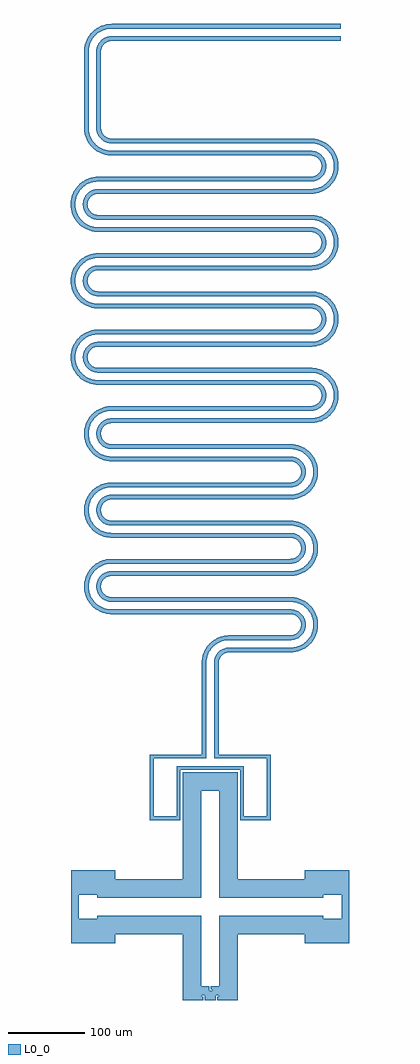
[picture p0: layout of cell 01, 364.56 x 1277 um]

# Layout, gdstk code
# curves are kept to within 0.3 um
import gdstk
lib = gdstk.Library(unit=1e-6, precision=1e-09)
def R(c, l, rs):  # rectangles x0, y0, x1, y1
    for r in rs: c.add(gdstk.rectangle(r[:2], r[2:], *l))
def P(c, l, *ps):  # polygons
    for p in ps: c.add(gdstk.Polygon(p, *l))
L0_0 = (0, 0)

c_01 = lib.new_cell('01')
R(c_01, L0_0, [(-11,2.5,-5,122.5), (-11,2.5,-5,122.5), (5,2.5,11,122.5), (5,2.5,11,122.5), (25,136.5,105,142.5), (25,136.5,105,142.5), (25,152.5,105,158.5), (25,152.5,105,158.5), (-129,186.5,105,192.5), (-129,186.5,105,192.5), (-129,202.5,105,208.5), (-129,202.5,105,208.5), (-129,236.5,105,242.5), (-129,236.5,105,242.5), (-129,252.5,105,258.5), (-129,252.5,105,258.5), (-129,286.5,105,292.5), (-129,286.5,105,292.5), (-129,302.5,105,308.5), (-129,302.5,105,308.5), (-129,336.5,105,342.5), (-129,336.5,105,342.5), (-129,352.5,105,358.5), (-129,352.5,105,358.5), (-129,386.5,105,392.5), (-129,386.5,105,392.5), (-129,402.5,105,408.5), (-129,402.5,105,408.5), (-129,436.5,131.771,442.5), (-129,436.5,131.771,442.5), (-129,452.5,131.771,458.5), (-129,452.5,131.771,458.5), (-146.571,486.5,131.771,492.5), (-146.571,486.5,131.771,492.5), (-146.571,502.5,131.771,508.5), (-146.571,502.5,131.771,508.5), (-146.571,536.5,131.771,542.5), (-146.571,536.5,131.771,542.5), (-146.571,552.5,131.771,558.5), (-146.571,552.5,131.771,558.5), (-146.571,586.5,131.771,592.5), (-146.571,586.5,131.771,592.5), (-146.571,602.5,131.771,608.5), (-146.571,602.5,131.771,608.5), (-146.571,636.5,131.771,642.5), (-146.571,636.5,131.771,642.5), (-146.571,652.5,131.771,658.5), (-146.571,652.5,131.771,658.5), (-146.571,686.5,131.771,692.5), (-146.571,686.5,131.771,692.5), (-146.571,702.5,131.771,708.5), (-146.571,702.5,131.771,708.5), (-146.571,736.5,131.771,742.5), (-146.571,736.5,131.771,742.5), (-146.571,752.5,131.771,758.5), (-146.571,752.5,131.771,758.5), (-129,786.5,131.771,792.5), (-129,786.5,131.771,792.5), (-129,802.5,131.771,808.5), (-129,802.5,131.771,808.5), (-165,822.5,-159,922.5), (-165,822.5,-159,922.5), (-149,822.5,-143,922.5), (-149,822.5,-143,922.5), (-129,936.5,171,942.5), (-129,936.5,171,942.5), (-129,952.5,171,958.5), (-129,952.5,171,958.5)])
P(c_01, L0_0, [(5,122.5),(5.361,126.285),(6.433,129.933),(8.175,133.313),(10.525,136.302),(13.399,138.792),(16.692,140.693),(21.215,142.139),(25,142.5),(25,136.5),(19.797,135.497),(15.339,132.632),(12.265,128.316),(11.253,125.15),(11,122.5)],
  [(-11,122.5),(-10.349,129.313),(-8.421,135.88),(-5.285,141.963),(-1.054,147.343),(4.118,151.825),(10.045,155.247),(16.513,157.485),(25,158.5),(25,152.5),(19.322,151.958),(13.85,150.351),(8.781,147.738),(4.298,144.212),(-0.238,138.719),(-2.851,133.65),(-4.458,128.178),(-5,122.5)],
  [(105,152.5),(108.729,152.851),(112.328,153.891),(115.669,155.583),(118.636,157.869),(121.662,161.437),(123.432,164.738),(124.556,168.311),(124.995,172.031),(124.731,175.768),(123.776,179.389),(121.662,183.563),(119.307,186.475),(115.669,189.417),(112.328,191.109),(108.729,192.149),(105,192.5),(105,186.5),(110.129,185.527),(113.015,183.979),(115.015,182.283),(117.903,177.933),(118.996,172.828),(118.69,169.568),(117.903,167.067),(115.015,162.717),(113.015,161.021),(110.129,159.473),(105,158.5)],
  [(105,136.5),(111.713,137.131),(118.19,139.003),(124.204,142.05),(130.752,147.344),(134.991,152.587),(138.178,158.529),(140.202,164.96),(140.99,171.656),(140.516,178.382),(138.797,184.901),(135.892,190.985),(130.752,197.656),(124.204,202.95),(118.19,205.997),(111.713,207.869),(105,208.5),(105,202.5),(110.594,201.974),(117.288,199.868),(123.309,196.265),(127.419,192.434),(129.993,189.094),(132.649,184.143),(134.335,178.783),(134.992,173.203),(134.597,167.599),(133.164,162.166),(131.437,158.319),(128.329,153.639),(123.309,148.735),(117.288,145.132),(110.594,143.026),(105,142.5)],
  [(-129,202.5),(-132.729,202.851),(-136.328,203.891),(-139.669,205.583),(-142.636,207.869),(-145.662,211.437),(-147.432,214.738),(-148.556,218.311),(-148.995,222.031),(-148.731,225.768),(-147.776,229.389),(-145.662,233.563),(-143.307,236.475),(-139.669,239.417),(-136.328,241.109),(-132.729,242.149),(-129,242.5),(-129,236.5),(-134.129,235.527),(-137.015,233.979),(-139.015,232.283),(-141.903,227.933),(-142.996,222.828),(-142.69,219.568),(-141.903,217.067),(-139.015,212.717),(-137.015,211.021),(-134.129,209.473),(-129,208.5)],
  [(-129,186.5),(-135.713,187.131),(-142.19,189.003),(-148.204,192.05),(-154.752,197.344),(-158.991,202.587),(-162.178,208.529),(-164.202,214.96),(-164.99,221.656),(-164.516,228.382),(-162.797,234.901),(-159.892,240.985),(-154.752,247.656),(-148.204,252.95),(-142.19,255.997),(-135.713,257.869),(-129,258.5),(-129,252.5),(-134.594,251.974),(-141.288,249.868),(-147.309,246.265),(-151.419,242.434),(-153.993,239.094),(-156.649,234.143),(-158.335,228.783),(-158.992,223.203),(-158.597,217.599),(-157.164,212.166),(-155.437,208.319),(-152.329,203.639),(-147.309,198.735),(-141.288,195.132),(-134.594,193.026),(-129,192.5)],
  [(105,252.5),(108.729,252.851),(112.328,253.891),(115.669,255.583),(118.636,257.869),(121.662,261.437),(123.432,264.738),(124.556,268.311),(124.995,272.031),(124.731,275.768),(123.776,279.389),(121.662,283.563),(119.307,286.475),(115.669,289.417),(112.328,291.109),(108.729,292.149),(105,292.5),(105,286.5),(110.129,285.527),(113.015,283.979),(115.015,282.283),(117.903,277.933),(118.996,272.828),(118.69,269.568),(117.903,267.067),(115.015,262.717),(113.015,261.021),(110.129,259.473),(105,258.5)],
  [(105,236.5),(111.713,237.131),(118.19,239.003),(124.204,242.05),(130.752,247.344),(134.991,252.587),(138.178,258.529),(140.202,264.96),(140.99,271.656),(140.516,278.382),(138.797,284.901),(135.892,290.985),(130.752,297.656),(124.204,302.95),(118.19,305.997),(111.713,307.869),(105,308.5),(105,302.5),(110.594,301.974),(117.288,299.868),(123.309,296.265),(127.419,292.434),(129.993,289.094),(132.649,284.143),(134.335,278.783),(134.992,273.203),(134.597,267.599),(133.164,262.166),(131.437,258.319),(128.329,253.639),(123.309,248.735),(117.288,245.132),(110.594,243.026),(105,242.5)],
  [(-129,302.5),(-132.729,302.851),(-136.328,303.891),(-139.669,305.583),(-142.636,307.869),(-145.662,311.437),(-147.432,314.738),(-148.556,318.311),(-148.995,322.031),(-148.731,325.768),(-147.776,329.389),(-145.662,333.563),(-143.307,336.475),(-139.669,339.417),(-136.328,341.109),(-132.729,342.149),(-129,342.5),(-129,336.5),(-134.129,335.527),(-137.015,333.979),(-139.015,332.283),(-141.903,327.933),(-142.996,322.828),(-142.69,319.568),(-141.903,317.067),(-139.015,312.717),(-137.015,311.021),(-134.129,309.473),(-129,308.5)],
  [(-129,286.5),(-135.713,287.131),(-142.19,289.003),(-148.204,292.05),(-154.752,297.344),(-158.991,302.587),(-162.178,308.529),(-164.202,314.96),(-164.99,321.656),(-164.516,328.382),(-162.797,334.901),(-159.892,340.985),(-154.752,347.656),(-148.204,352.95),(-142.19,355.997),(-135.713,357.869),(-129,358.5),(-129,352.5),(-134.594,351.974),(-141.288,349.868),(-147.309,346.265),(-151.419,342.434),(-153.993,339.094),(-156.649,334.143),(-158.335,328.783),(-158.992,323.203),(-158.597,317.599),(-157.164,312.166),(-155.437,308.319),(-152.329,303.639),(-147.309,298.735),(-141.288,295.132),(-134.594,293.026),(-129,292.5)],
  [(105,352.5),(108.729,352.851),(112.328,353.891),(115.669,355.583),(118.636,357.869),(121.662,361.437),(123.432,364.738),(124.556,368.311),(124.995,372.031),(124.731,375.768),(123.776,379.389),(121.662,383.563),(119.307,386.475),(115.669,389.417),(112.328,391.109),(108.729,392.149),(105,392.5),(105,386.5),(110.129,385.527),(113.015,383.979),(115.015,382.283),(117.903,377.933),(118.996,372.828),(118.69,369.568),(117.903,367.067),(115.015,362.717),(113.015,361.021),(110.129,359.473),(105,358.5)],
  [(105,336.5),(111.713,337.131),(118.19,339.003),(124.204,342.05),(130.752,347.344),(134.991,352.587),(138.178,358.529),(140.202,364.96),(140.99,371.656),(140.516,378.382),(138.797,384.901),(135.892,390.985),(130.752,397.656),(124.204,402.95),(118.19,405.997),(111.713,407.869),(105,408.5),(105,402.5),(110.594,401.974),(117.288,399.868),(123.309,396.265),(127.419,392.434),(129.993,389.094),(132.649,384.143),(134.335,378.783),(134.992,373.203),(134.597,367.599),(133.164,362.166),(131.437,358.319),(128.329,353.639),(123.309,348.735),(117.288,345.132),(110.594,343.026),(105,342.5)],
  [(-129,402.5),(-132.729,402.851),(-136.328,403.891),(-139.669,405.583),(-142.636,407.869),(-145.662,411.437),(-147.432,414.738),(-148.556,418.311),(-148.995,422.031),(-148.731,425.768),(-147.776,429.389),(-145.662,433.563),(-143.307,436.475),(-139.669,439.417),(-136.328,441.109),(-132.729,442.149),(-129,442.5),(-129,436.5),(-134.129,435.527),(-137.015,433.979),(-139.015,432.283),(-141.903,427.933),(-142.996,422.828),(-142.69,419.568),(-141.903,417.067),(-139.015,412.717),(-137.015,411.021),(-134.129,409.473),(-129,408.5)],
  [(-129,386.5),(-135.713,387.131),(-142.19,389.003),(-148.204,392.05),(-154.752,397.344),(-158.991,402.587),(-162.178,408.529),(-164.202,414.96),(-164.99,421.656),(-164.516,428.382),(-162.797,434.901),(-159.892,440.985),(-154.752,447.656),(-148.204,452.95),(-142.19,455.997),(-135.713,457.869),(-129,458.5),(-129,452.5),(-134.594,451.974),(-141.288,449.868),(-147.309,446.265),(-151.419,442.434),(-153.993,439.094),(-156.649,434.143),(-158.335,428.783),(-158.992,423.203),(-158.597,417.599),(-157.164,412.166),(-155.437,408.319),(-152.329,403.639),(-147.309,398.735),(-141.288,395.132),(-134.594,393.026),(-129,392.5)],
  [(131.771,452.5),(135.501,452.851),(139.099,453.891),(142.44,455.583),(145.408,457.869),(148.433,461.437),(150.204,464.738),(151.328,468.311),(151.766,472.031),(151.503,475.768),(150.204,480.262),(148.433,483.563),(146.078,486.475),(143.222,488.898),(139.099,491.109),(135.501,492.149),(131.771,492.5),(131.771,486.5),(136.901,485.527),(139.787,483.979),(141.786,482.283),(144.674,477.933),(145.768,472.828),(144.915,467.677),(143.435,464.756),(141.786,462.717),(139.787,461.021),(136.901,459.473),(131.771,458.5)],
  [(131.771,436.5),(138.484,437.131),(144.961,439.003),(150.976,442.05),(156.317,446.165),(160.797,451.203),(164.95,458.529),(166.973,464.96),(167.762,471.656),(167.288,478.382),(164.95,486.471),(161.763,492.413),(157.524,497.656),(152.382,502.016),(146.517,505.342),(138.484,507.869),(131.771,508.5),(131.771,502.5),(137.365,501.974),(144.059,499.868),(150.081,496.265),(154.191,492.434),(157.515,487.904),(159.42,484.143),(161.106,478.783),(161.763,473.203),(161.566,468.991),(160.389,463.497),(158.208,458.319),(155.101,453.639),(150.081,448.735),(144.059,445.132),(137.365,443.026),(131.771,442.5)],
  [(-146.571,502.5),(-150.301,502.851),(-153.899,503.891),(-157.24,505.583),(-160.208,507.869),(-163.233,511.437),(-165.004,514.738),(-166.128,518.311),(-166.566,522.031),(-166.303,525.768),(-165.004,530.262),(-163.233,533.563),(-160.878,536.475),(-158.022,538.898),(-153.899,541.109),(-150.301,542.149),(-146.571,542.5),(-146.571,536.5),(-151.701,535.527),(-154.587,533.979),(-156.586,532.283),(-159.474,527.933),(-160.568,522.828),(-159.715,517.677),(-158.235,514.756),(-156.586,512.717),(-154.587,511.021),(-151.701,509.473),(-146.571,508.5)],
  [(-146.571,486.5),(-153.284,487.131),(-159.761,489.003),(-165.776,492.05),(-171.117,496.165),(-175.597,501.203),(-179.75,508.529),(-181.773,514.96),(-182.562,521.656),(-182.088,528.382),(-179.75,536.471),(-176.563,542.413),(-172.324,547.656),(-167.182,552.016),(-161.317,555.342),(-153.284,557.869),(-146.571,558.5),(-146.571,552.5),(-152.165,551.974),(-158.859,549.868),(-164.881,546.265),(-168.991,542.434),(-172.315,537.904),(-174.22,534.143),(-175.906,528.783),(-176.563,523.203),(-176.366,518.991),(-175.189,513.497),(-173.008,508.319),(-169.901,503.639),(-164.881,498.735),(-158.859,495.132),(-152.165,493.026),(-146.571,492.5)],
  [(131.771,552.5),(135.501,552.851),(139.099,553.891),(142.44,555.583),(145.408,557.869),(148.433,561.437),(150.204,564.738),(151.328,568.311),(151.766,572.031),(151.503,575.768),(150.204,580.262),(148.433,583.563),(146.078,586.475),(143.222,588.898),(139.099,591.109),(135.501,592.149),(131.771,592.5),(131.771,586.5),(136.901,585.527),(139.787,583.979),(141.786,582.283),(144.674,577.933),(145.768,572.828),(144.915,567.677),(143.435,564.756),(141.786,562.717),(139.787,561.021),(136.901,559.473),(131.771,558.5)],
  [(131.771,536.5),(138.484,537.131),(144.961,539.003),(150.976,542.05),(156.317,546.165),(160.797,551.203),(164.95,558.529),(166.973,564.96),(167.762,571.656),(167.288,578.382),(164.95,586.471),(161.763,592.413),(157.524,597.656),(152.382,602.016),(146.517,605.342),(138.484,607.869),(131.771,608.5),(131.771,602.5),(137.365,601.974),(144.059,599.868),(150.081,596.265),(154.191,592.434),(157.515,587.904),(159.42,584.143),(161.106,578.783),(161.763,573.203),(161.566,568.991),(160.389,563.497),(158.208,558.319),(155.101,553.639),(150.081,548.735),(144.059,545.132),(137.365,543.026),(131.771,542.5)],
  [(-146.571,602.5),(-150.301,602.851),(-153.899,603.891),(-157.24,605.583),(-160.208,607.869),(-163.233,611.437),(-165.004,614.738),(-166.128,618.311),(-166.566,622.031),(-166.303,625.768),(-165.004,630.262),(-163.233,633.563),(-160.878,636.475),(-158.022,638.898),(-153.899,641.109),(-150.301,642.149),(-146.571,642.5),(-146.571,636.5),(-151.701,635.527),(-154.587,633.979),(-156.586,632.283),(-159.474,627.933),(-160.568,622.828),(-159.715,617.677),(-158.235,614.756),(-156.586,612.717),(-154.587,611.021),(-151.701,609.473),(-146.571,608.5)],
  [(-146.571,586.5),(-153.284,587.131),(-159.761,589.003),(-165.776,592.05),(-171.117,596.165),(-175.597,601.203),(-179.75,608.529),(-181.773,614.96),(-182.562,621.656),(-182.088,628.382),(-179.75,636.471),(-176.563,642.413),(-172.324,647.656),(-167.182,652.016),(-161.317,655.342),(-153.284,657.869),(-146.571,658.5),(-146.571,652.5),(-152.165,651.974),(-158.859,649.868),(-164.881,646.265),(-168.991,642.434),(-172.315,637.904),(-174.22,634.143),(-175.906,628.783),(-176.563,623.203),(-176.366,618.991),(-175.189,613.497),(-173.008,608.319),(-169.901,603.639),(-164.881,598.735),(-158.859,595.132),(-152.165,593.026),(-146.571,592.5)],
  [(131.771,652.5),(135.501,652.851),(139.099,653.891),(142.44,655.583),(145.408,657.869),(148.433,661.437),(150.204,664.738),(151.328,668.311),(151.766,672.031),(151.503,675.768),(150.204,680.262),(148.433,683.563),(146.078,686.475),(143.222,688.898),(139.099,691.109),(135.501,692.149),(131.771,692.5),(131.771,686.5),(136.901,685.527),(139.787,683.979),(141.786,682.283),(144.674,677.933),(145.768,672.828),(144.915,667.677),(143.435,664.756),(141.786,662.717),(139.787,661.021),(136.901,659.473),(131.771,658.5)],
  [(131.771,636.5),(138.484,637.131),(144.961,639.003),(150.976,642.05),(156.317,646.165),(160.797,651.203),(164.95,658.529),(166.973,664.96),(167.762,671.656),(167.288,678.382),(164.95,686.471),(161.763,692.413),(157.524,697.656),(152.382,702.016),(146.517,705.342),(138.484,707.869),(131.771,708.5),(131.771,702.5),(137.365,701.974),(144.059,699.868),(150.081,696.265),(154.191,692.434),(157.515,687.904),(159.42,684.143),(161.106,678.783),(161.763,673.203),(161.566,668.991),(160.389,663.497),(158.208,658.319),(155.101,653.639),(150.081,648.735),(144.059,645.132),(137.365,643.026),(131.771,642.5)],
  [(-146.571,702.5),(-150.301,702.851),(-153.899,703.891),(-157.24,705.583),(-160.208,707.869),(-163.233,711.437),(-165.004,714.738),(-166.128,718.311),(-166.566,722.031),(-166.303,725.768),(-165.004,730.262),(-163.233,733.563),(-160.878,736.475),(-158.022,738.898),(-153.899,741.109),(-150.301,742.149),(-146.571,742.5),(-146.571,736.5),(-151.701,735.527),(-154.587,733.979),(-156.586,732.283),(-159.474,727.933),(-160.568,722.828),(-159.715,717.677),(-158.235,714.756),(-156.586,712.717),(-154.587,711.021),(-151.701,709.473),(-146.571,708.5)],
  [(-146.571,686.5),(-153.284,687.131),(-159.761,689.003),(-165.776,692.05),(-171.117,696.165),(-175.597,701.203),(-179.75,708.529),(-181.773,714.96),(-182.562,721.656),(-182.088,728.382),(-179.75,736.471),(-176.563,742.413),(-172.324,747.656),(-167.182,752.016),(-161.317,755.342),(-153.284,757.869),(-146.571,758.5),(-146.571,752.5),(-152.165,751.974),(-158.859,749.868),(-164.881,746.265),(-168.991,742.434),(-172.315,737.904),(-174.22,734.143),(-175.906,728.783),(-176.563,723.203),(-176.366,718.991),(-175.189,713.497),(-173.008,708.319),(-169.901,703.639),(-164.881,698.735),(-158.859,695.132),(-152.165,693.026),(-146.571,692.5)],
  [(131.771,752.5),(135.501,752.851),(139.099,753.891),(142.44,755.583),(145.408,757.869),(148.433,761.437),(150.204,764.738),(151.328,768.311),(151.766,772.031),(151.503,775.768),(150.204,780.262),(148.433,783.563),(146.078,786.475),(143.222,788.898),(139.099,791.109),(135.501,792.149),(131.771,792.5),(131.771,786.5),(136.901,785.527),(139.787,783.979),(141.786,782.283),(144.674,777.933),(145.768,772.828),(144.915,767.677),(143.435,764.756),(141.786,762.717),(139.787,761.021),(136.901,759.473),(131.771,758.5)],
  [(131.771,736.5),(138.484,737.131),(144.961,739.003),(150.976,742.05),(156.317,746.165),(160.797,751.203),(164.95,758.529),(166.973,764.96),(167.762,771.656),(167.288,778.382),(164.95,786.471),(161.763,792.413),(157.524,797.656),(152.382,802.016),(146.517,805.342),(138.484,807.869),(131.771,808.5),(131.771,802.5),(137.365,801.974),(144.059,799.868),(150.081,796.265),(154.191,792.434),(157.515,787.904),(159.42,784.143),(161.106,778.783),(161.763,773.203),(161.566,768.991),(160.389,763.497),(158.208,758.319),(155.101,753.639),(150.081,748.735),(144.059,745.132),(137.365,743.026),(131.771,742.5)],
  [(-129,802.5),(-132.785,802.861),(-136.433,803.933),(-139.813,805.675),(-142.802,808.025),(-145.292,810.899),(-147.193,814.192),(-148.639,818.715),(-149,822.5),(-143,822.5),(-141.997,817.297),(-139.132,812.839),(-134.816,809.765),(-131.65,808.753),(-129,808.5)],
  [(-129,786.5),(-135.813,787.151),(-142.38,789.079),(-148.463,792.215),(-153.843,796.446),(-158.325,801.618),(-161.747,807.545),(-163.985,814.013),(-165,822.5),(-159,822.5),(-158.458,816.822),(-156.851,811.35),(-154.238,806.281),(-150.712,801.798),(-145.219,797.262),(-140.15,794.649),(-134.678,793.042),(-129,792.5)],
  [(-149,922.5),(-148.639,926.285),(-147.567,929.933),(-145.825,933.313),(-143.475,936.302),(-140.601,938.792),(-137.308,940.693),(-132.785,942.139),(-129,942.5),(-129,936.5),(-134.203,935.497),(-138.661,932.632),(-141.735,928.316),(-142.747,925.15),(-143,922.5)],
  [(-165,922.5),(-164.349,929.313),(-162.421,935.88),(-159.285,941.963),(-155.054,947.343),(-149.882,951.825),(-143.955,955.247),(-137.487,957.485),(-129,958.5),(-129,952.5),(-134.678,951.958),(-140.15,950.351),(-145.219,947.738),(-149.702,944.212),(-154.238,938.719),(-156.851,933.65),(-158.458,928.178),(-159,922.5)],
  [(-9,-314.5),(-11,-314.5),(-11,-312.5),(-7,-312.5),(-7,-318.5),(7,-318.5),(7,-312.5),(11,-312.5),(11,-314.5),(9,-314.5),(9,-318.5),(36,-318.5),(36,-232.5),(124,-232.5),(124,-244.5),(182,-244.5),(182,-148.5),(124,-148.5),(124,-160.5),(36,-160.5),(36,-20.5),(-36,-20.5),(-36,-160.5),(-124,-160.5),(-124,-148.5),(-182,-148.5),(-182,-212.5),(-172,-212.5),(-172,-180.5),(-148,-180.5),(-148,-184.5),(-12,-184.5),(-12,-44.5),(12,-44.5),(12,-184.5),(148,-184.5),(148,-180.5),(172,-180.5),(172,-212.5),(148,-212.5),(148,-208.5),(12,-208.5),(12,-300.5),(0.5,-300.5),(0.5,-304.5),(2.5,-304.5),(2.5,-306.5),(-1.5,-306.5),(-1.5,-300.5),(-12,-300.5),(-12,-208.5),(-148,-208.5),(-148,-212.5),(-172,-212.5),(-182,-212.5),(-182,-244.5),(-124,-244.5),(-124,-232.5),(-36,-232.5),(-36,-318.5),(-9,-318.5)],
  [(-5,-2.5),(-5,2.5),(-79,2.5),(-79,-83),(-39,-83),(-39,-17.5),(39,-17.5),(39,-83),(79,-83),(79,2.5),(5,2.5),(5,-2.5),(74,-2.5),(74,-78),(44,-78),(44,-12.5),(-44,-12.5),(-44,-78),(-74,-78),(-74,-2.5)],
  [(5,122.5),(5.361,126.285),(6.433,129.933),(8.175,133.313),(10.525,136.302),(13.399,138.792),(16.692,140.693),(21.215,142.139),(25,142.5),(25,136.5),(19.797,135.497),(15.339,132.632),(12.265,128.316),(11.253,125.15),(11,122.5)],
  [(-11,122.5),(-10.349,129.313),(-8.421,135.88),(-5.285,141.963),(-1.054,147.343),(4.118,151.825),(10.045,155.247),(16.513,157.485),(25,158.5),(25,152.5),(19.322,151.958),(13.85,150.351),(8.781,147.738),(4.298,144.212),(-0.238,138.719),(-2.851,133.65),(-4.458,128.178),(-5,122.5)],
  [(105,152.5),(108.729,152.851),(112.328,153.891),(115.669,155.583),(118.636,157.869),(121.662,161.437),(123.432,164.738),(124.556,168.311),(124.995,172.031),(124.731,175.768),(123.776,179.389),(121.662,183.563),(119.307,186.475),(115.669,189.417),(112.328,191.109),(108.729,192.149),(105,192.5),(105,186.5),(110.129,185.527),(113.015,183.979),(115.015,182.283),(117.903,177.933),(118.996,172.828),(118.69,169.568),(117.903,167.067),(115.015,162.717),(113.015,161.021),(110.129,159.473),(105,158.5)],
  [(105,136.5),(111.713,137.131),(118.19,139.003),(124.204,142.05),(130.752,147.344),(134.991,152.587),(138.178,158.529),(140.202,164.96),(140.99,171.656),(140.516,178.382),(138.797,184.901),(135.892,190.985),(130.752,197.656),(124.204,202.95),(118.19,205.997),(111.713,207.869),(105,208.5),(105,202.5),(110.594,201.974),(117.288,199.868),(123.309,196.265),(127.419,192.434),(129.993,189.094),(132.649,184.143),(134.335,178.783),(134.992,173.203),(134.597,167.599),(133.164,162.166),(131.437,158.319),(128.329,153.639),(123.309,148.735),(117.288,145.132),(110.594,143.026),(105,142.5)],
  [(-129,202.5),(-132.729,202.851),(-136.328,203.891),(-139.669,205.583),(-142.636,207.869),(-145.662,211.437),(-147.432,214.738),(-148.556,218.311),(-148.995,222.031),(-148.731,225.768),(-147.776,229.389),(-145.662,233.563),(-143.307,236.475),(-139.669,239.417),(-136.328,241.109),(-132.729,242.149),(-129,242.5),(-129,236.5),(-134.129,235.527),(-137.015,233.979),(-139.015,232.283),(-141.903,227.933),(-142.996,222.828),(-142.69,219.568),(-141.903,217.067),(-139.015,212.717),(-137.015,211.021),(-134.129,209.473),(-129,208.5)],
  [(-129,186.5),(-135.713,187.131),(-142.19,189.003),(-148.204,192.05),(-154.752,197.344),(-158.991,202.587),(-162.178,208.529),(-164.202,214.96),(-164.99,221.656),(-164.516,228.382),(-162.797,234.901),(-159.892,240.985),(-154.752,247.656),(-148.204,252.95),(-142.19,255.997),(-135.713,257.869),(-129,258.5),(-129,252.5),(-134.594,251.974),(-141.288,249.868),(-147.309,246.265),(-151.419,242.434),(-153.993,239.094),(-156.649,234.143),(-158.335,228.783),(-158.992,223.203),(-158.597,217.599),(-157.164,212.166),(-155.437,208.319),(-152.329,203.639),(-147.309,198.735),(-141.288,195.132),(-134.594,193.026),(-129,192.5)],
  [(105,252.5),(108.729,252.851),(112.328,253.891),(115.669,255.583),(118.636,257.869),(121.662,261.437),(123.432,264.738),(124.556,268.311),(124.995,272.031),(124.731,275.768),(123.776,279.389),(121.662,283.563),(119.307,286.475),(115.669,289.417),(112.328,291.109),(108.729,292.149),(105,292.5),(105,286.5),(110.129,285.527),(113.015,283.979),(115.015,282.283),(117.903,277.933),(118.996,272.828),(118.69,269.568),(117.903,267.067),(115.015,262.717),(113.015,261.021),(110.129,259.473),(105,258.5)],
  [(105,236.5),(111.713,237.131),(118.19,239.003),(124.204,242.05),(130.752,247.344),(134.991,252.587),(138.178,258.529),(140.202,264.96),(140.99,271.656),(140.516,278.382),(138.797,284.901),(135.892,290.985),(130.752,297.656),(124.204,302.95),(118.19,305.997),(111.713,307.869),(105,308.5),(105,302.5),(110.594,301.974),(117.288,299.868),(123.309,296.265),(127.419,292.434),(129.993,289.094),(132.649,284.143),(134.335,278.783),(134.992,273.203),(134.597,267.599),(133.164,262.166),(131.437,258.319),(128.329,253.639),(123.309,248.735),(117.288,245.132),(110.594,243.026),(105,242.5)],
  [(-129,302.5),(-132.729,302.851),(-136.328,303.891),(-139.669,305.583),(-142.636,307.869),(-145.662,311.437),(-147.432,314.738),(-148.556,318.311),(-148.995,322.031),(-148.731,325.768),(-147.776,329.389),(-145.662,333.563),(-143.307,336.475),(-139.669,339.417),(-136.328,341.109),(-132.729,342.149),(-129,342.5),(-129,336.5),(-134.129,335.527),(-137.015,333.979),(-139.015,332.283),(-141.903,327.933),(-142.996,322.828),(-142.69,319.568),(-141.903,317.067),(-139.015,312.717),(-137.015,311.021),(-134.129,309.473),(-129,308.5)],
  [(-129,286.5),(-135.713,287.131),(-142.19,289.003),(-148.204,292.05),(-154.752,297.344),(-158.991,302.587),(-162.178,308.529),(-164.202,314.96),(-164.99,321.656),(-164.516,328.382),(-162.797,334.901),(-159.892,340.985),(-154.752,347.656),(-148.204,352.95),(-142.19,355.997),(-135.713,357.869),(-129,358.5),(-129,352.5),(-134.594,351.974),(-141.288,349.868),(-147.309,346.265),(-151.419,342.434),(-153.993,339.094),(-156.649,334.143),(-158.335,328.783),(-158.992,323.203),(-158.597,317.599),(-157.164,312.166),(-155.437,308.319),(-152.329,303.639),(-147.309,298.735),(-141.288,295.132),(-134.594,293.026),(-129,292.5)],
  [(105,352.5),(108.729,352.851),(112.328,353.891),(115.669,355.583),(118.636,357.869),(121.662,361.437),(123.432,364.738),(124.556,368.311),(124.995,372.031),(124.731,375.768),(123.776,379.389),(121.662,383.563),(119.307,386.475),(115.669,389.417),(112.328,391.109),(108.729,392.149),(105,392.5),(105,386.5),(110.129,385.527),(113.015,383.979),(115.015,382.283),(117.903,377.933),(118.996,372.828),(118.69,369.568),(117.903,367.067),(115.015,362.717),(113.015,361.021),(110.129,359.473),(105,358.5)],
  [(105,336.5),(111.713,337.131),(118.19,339.003),(124.204,342.05),(130.752,347.344),(134.991,352.587),(138.178,358.529),(140.202,364.96),(140.99,371.656),(140.516,378.382),(138.797,384.901),(135.892,390.985),(130.752,397.656),(124.204,402.95),(118.19,405.997),(111.713,407.869),(105,408.5),(105,402.5),(110.594,401.974),(117.288,399.868),(123.309,396.265),(127.419,392.434),(129.993,389.094),(132.649,384.143),(134.335,378.783),(134.992,373.203),(134.597,367.599),(133.164,362.166),(131.437,358.319),(128.329,353.639),(123.309,348.735),(117.288,345.132),(110.594,343.026),(105,342.5)],
  [(-129,402.5),(-132.729,402.851),(-136.328,403.891),(-139.669,405.583),(-142.636,407.869),(-145.662,411.437),(-147.432,414.738),(-148.556,418.311),(-148.995,422.031),(-148.731,425.768),(-147.776,429.389),(-145.662,433.563),(-143.307,436.475),(-139.669,439.417),(-136.328,441.109),(-132.729,442.149),(-129,442.5),(-129,436.5),(-134.129,435.527),(-137.015,433.979),(-139.015,432.283),(-141.903,427.933),(-142.996,422.828),(-142.69,419.568),(-141.903,417.067),(-139.015,412.717),(-137.015,411.021),(-134.129,409.473),(-129,408.5)],
  [(-129,386.5),(-135.713,387.131),(-142.19,389.003),(-148.204,392.05),(-154.752,397.344),(-158.991,402.587),(-162.178,408.529),(-164.202,414.96),(-164.99,421.656),(-164.516,428.382),(-162.797,434.901),(-159.892,440.985),(-154.752,447.656),(-148.204,452.95),(-142.19,455.997),(-135.713,457.869),(-129,458.5),(-129,452.5),(-134.594,451.974),(-141.288,449.868),(-147.309,446.265),(-151.419,442.434),(-153.993,439.094),(-156.649,434.143),(-158.335,428.783),(-158.992,423.203),(-158.597,417.599),(-157.164,412.166),(-155.437,408.319),(-152.329,403.639),(-147.309,398.735),(-141.288,395.132),(-134.594,393.026),(-129,392.5)],
  [(131.771,452.5),(135.501,452.851),(139.099,453.891),(142.44,455.583),(145.408,457.869),(148.433,461.437),(150.204,464.738),(151.328,468.311),(151.766,472.031),(151.503,475.768),(150.204,480.262),(148.433,483.563),(146.078,486.475),(143.222,488.898),(139.099,491.109),(135.501,492.149),(131.771,492.5),(131.771,486.5),(136.901,485.527),(139.787,483.979),(141.786,482.283),(144.674,477.933),(145.768,472.828),(144.915,467.677),(143.435,464.756),(141.786,462.717),(139.787,461.021),(136.901,459.473),(131.771,458.5)],
  [(131.771,436.5),(138.484,437.131),(144.961,439.003),(150.976,442.05),(156.317,446.165),(160.797,451.203),(164.95,458.529),(166.973,464.96),(167.762,471.656),(167.288,478.382),(164.95,486.471),(161.763,492.413),(157.524,497.656),(152.382,502.016),(146.517,505.342),(138.484,507.869),(131.771,508.5),(131.771,502.5),(137.365,501.974),(144.059,499.868),(150.081,496.265),(154.191,492.434),(157.515,487.904),(159.42,484.143),(161.106,478.783),(161.763,473.203),(161.566,468.991),(160.389,463.497),(158.208,458.319),(155.101,453.639),(150.081,448.735),(144.059,445.132),(137.365,443.026),(131.771,442.5)],
  [(-146.571,502.5),(-150.301,502.851),(-153.899,503.891),(-157.24,505.583),(-160.208,507.869),(-163.233,511.437),(-165.004,514.738),(-166.128,518.311),(-166.566,522.031),(-166.303,525.768),(-165.004,530.262),(-163.233,533.563),(-160.878,536.475),(-158.022,538.898),(-153.899,541.109),(-150.301,542.149),(-146.571,542.5),(-146.571,536.5),(-151.701,535.527),(-154.587,533.979),(-156.586,532.283),(-159.474,527.933),(-160.568,522.828),(-159.715,517.677),(-158.235,514.756),(-156.586,512.717),(-154.587,511.021),(-151.701,509.473),(-146.571,508.5)],
  [(-146.571,486.5),(-153.284,487.131),(-159.761,489.003),(-165.776,492.05),(-171.117,496.165),(-175.597,501.203),(-179.75,508.529),(-181.773,514.96),(-182.562,521.656),(-182.088,528.382),(-179.75,536.471),(-176.563,542.413),(-172.324,547.656),(-167.182,552.016),(-161.317,555.342),(-153.284,557.869),(-146.571,558.5),(-146.571,552.5),(-152.165,551.974),(-158.859,549.868),(-164.881,546.265),(-168.991,542.434),(-172.315,537.904),(-174.22,534.143),(-175.906,528.783),(-176.563,523.203),(-176.366,518.991),(-175.189,513.497),(-173.008,508.319),(-169.901,503.639),(-164.881,498.735),(-158.859,495.132),(-152.165,493.026),(-146.571,492.5)],
  [(131.771,552.5),(135.501,552.851),(139.099,553.891),(142.44,555.583),(145.408,557.869),(148.433,561.437),(150.204,564.738),(151.328,568.311),(151.766,572.031),(151.503,575.768),(150.204,580.262),(148.433,583.563),(146.078,586.475),(143.222,588.898),(139.099,591.109),(135.501,592.149),(131.771,592.5),(131.771,586.5),(136.901,585.527),(139.787,583.979),(141.786,582.283),(144.674,577.933),(145.768,572.828),(144.915,567.677),(143.435,564.756),(141.786,562.717),(139.787,561.021),(136.901,559.473),(131.771,558.5)],
  [(131.771,536.5),(138.484,537.131),(144.961,539.003),(150.976,542.05),(156.317,546.165),(160.797,551.203),(164.95,558.529),(166.973,564.96),(167.762,571.656),(167.288,578.382),(164.95,586.471),(161.763,592.413),(157.524,597.656),(152.382,602.016),(146.517,605.342),(138.484,607.869),(131.771,608.5),(131.771,602.5),(137.365,601.974),(144.059,599.868),(150.081,596.265),(154.191,592.434),(157.515,587.904),(159.42,584.143),(161.106,578.783),(161.763,573.203),(161.566,568.991),(160.389,563.497),(158.208,558.319),(155.101,553.639),(150.081,548.735),(144.059,545.132),(137.365,543.026),(131.771,542.5)],
  [(-146.571,602.5),(-150.301,602.851),(-153.899,603.891),(-157.24,605.583),(-160.208,607.869),(-163.233,611.437),(-165.004,614.738),(-166.128,618.311),(-166.566,622.031),(-166.303,625.768),(-165.004,630.262),(-163.233,633.563),(-160.878,636.475),(-158.022,638.898),(-153.899,641.109),(-150.301,642.149),(-146.571,642.5),(-146.571,636.5),(-151.701,635.527),(-154.587,633.979),(-156.586,632.283),(-159.474,627.933),(-160.568,622.828),(-159.715,617.677),(-158.235,614.756),(-156.586,612.717),(-154.587,611.021),(-151.701,609.473),(-146.571,608.5)],
  [(-146.571,586.5),(-153.284,587.131),(-159.761,589.003),(-165.776,592.05),(-171.117,596.165),(-175.597,601.203),(-179.75,608.529),(-181.773,614.96),(-182.562,621.656),(-182.088,628.382),(-179.75,636.471),(-176.563,642.413),(-172.324,647.656),(-167.182,652.016),(-161.317,655.342),(-153.284,657.869),(-146.571,658.5),(-146.571,652.5),(-152.165,651.974),(-158.859,649.868),(-164.881,646.265),(-168.991,642.434),(-172.315,637.904),(-174.22,634.143),(-175.906,628.783),(-176.563,623.203),(-176.366,618.991),(-175.189,613.497),(-173.008,608.319),(-169.901,603.639),(-164.881,598.735),(-158.859,595.132),(-152.165,593.026),(-146.571,592.5)],
  [(131.771,652.5),(135.501,652.851),(139.099,653.891),(142.44,655.583),(145.408,657.869),(148.433,661.437),(150.204,664.738),(151.328,668.311),(151.766,672.031),(151.503,675.768),(150.204,680.262),(148.433,683.563),(146.078,686.475),(143.222,688.898),(139.099,691.109),(135.501,692.149),(131.771,692.5),(131.771,686.5),(136.901,685.527),(139.787,683.979),(141.786,682.283),(144.674,677.933),(145.768,672.828),(144.915,667.677),(143.435,664.756),(141.786,662.717),(139.787,661.021),(136.901,659.473),(131.771,658.5)],
  [(131.771,636.5),(138.484,637.131),(144.961,639.003),(150.976,642.05),(156.317,646.165),(160.797,651.203),(164.95,658.529),(166.973,664.96),(167.762,671.656),(167.288,678.382),(164.95,686.471),(161.763,692.413),(157.524,697.656),(152.382,702.016),(146.517,705.342),(138.484,707.869),(131.771,708.5),(131.771,702.5),(137.365,701.974),(144.059,699.868),(150.081,696.265),(154.191,692.434),(157.515,687.904),(159.42,684.143),(161.106,678.783),(161.763,673.203),(161.566,668.991),(160.389,663.497),(158.208,658.319),(155.101,653.639),(150.081,648.735),(144.059,645.132),(137.365,643.026),(131.771,642.5)],
  [(-146.571,702.5),(-150.301,702.851),(-153.899,703.891),(-157.24,705.583),(-160.208,707.869),(-163.233,711.437),(-165.004,714.738),(-166.128,718.311),(-166.566,722.031),(-166.303,725.768),(-165.004,730.262),(-163.233,733.563),(-160.878,736.475),(-158.022,738.898),(-153.899,741.109),(-150.301,742.149),(-146.571,742.5),(-146.571,736.5),(-151.701,735.527),(-154.587,733.979),(-156.586,732.283),(-159.474,727.933),(-160.568,722.828),(-159.715,717.677),(-158.235,714.756),(-156.586,712.717),(-154.587,711.021),(-151.701,709.473),(-146.571,708.5)],
  [(-146.571,686.5),(-153.284,687.131),(-159.761,689.003),(-165.776,692.05),(-171.117,696.165),(-175.597,701.203),(-179.75,708.529),(-181.773,714.96),(-182.562,721.656),(-182.088,728.382),(-179.75,736.471),(-176.563,742.413),(-172.324,747.656),(-167.182,752.016),(-161.317,755.342),(-153.284,757.869),(-146.571,758.5),(-146.571,752.5),(-152.165,751.974),(-158.859,749.868),(-164.881,746.265),(-168.991,742.434),(-172.315,737.904),(-174.22,734.143),(-175.906,728.783),(-176.563,723.203),(-176.366,718.991),(-175.189,713.497),(-173.008,708.319),(-169.901,703.639),(-164.881,698.735),(-158.859,695.132),(-152.165,693.026),(-146.571,692.5)],
  [(131.771,752.5),(135.501,752.851),(139.099,753.891),(142.44,755.583),(145.408,757.869),(148.433,761.437),(150.204,764.738),(151.328,768.311),(151.766,772.031),(151.503,775.768),(150.204,780.262),(148.433,783.563),(146.078,786.475),(143.222,788.898),(139.099,791.109),(135.501,792.149),(131.771,792.5),(131.771,786.5),(136.901,785.527),(139.787,783.979),(141.786,782.283),(144.674,777.933),(145.768,772.828),(144.915,767.677),(143.435,764.756),(141.786,762.717),(139.787,761.021),(136.901,759.473),(131.771,758.5)],
  [(131.771,736.5),(138.484,737.131),(144.961,739.003),(150.976,742.05),(156.317,746.165),(160.797,751.203),(164.95,758.529),(166.973,764.96),(167.762,771.656),(167.288,778.382),(164.95,786.471),(161.763,792.413),(157.524,797.656),(152.382,802.016),(146.517,805.342),(138.484,807.869),(131.771,808.5),(131.771,802.5),(137.365,801.974),(144.059,799.868),(150.081,796.265),(154.191,792.434),(157.515,787.904),(159.42,784.143),(161.106,778.783),(161.763,773.203),(161.566,768.991),(160.389,763.497),(158.208,758.319),(155.101,753.639),(150.081,748.735),(144.059,745.132),(137.365,743.026),(131.771,742.5)],
  [(-129,802.5),(-132.785,802.861),(-136.433,803.933),(-139.813,805.675),(-142.802,808.025),(-145.292,810.899),(-147.193,814.192),(-148.639,818.715),(-149,822.5),(-143,822.5),(-141.997,817.297),(-139.132,812.839),(-134.816,809.765),(-131.65,808.753),(-129,808.5)],
  [(-129,786.5),(-135.813,787.151),(-142.38,789.079),(-148.463,792.215),(-153.843,796.446),(-158.325,801.618),(-161.747,807.545),(-163.985,814.013),(-165,822.5),(-159,822.5),(-158.458,816.822),(-156.851,811.35),(-154.238,806.281),(-150.712,801.798),(-145.219,797.262),(-140.15,794.649),(-134.678,793.042),(-129,792.5)],
  [(-149,922.5),(-148.639,926.285),(-147.567,929.933),(-145.825,933.313),(-143.475,936.302),(-140.601,938.792),(-137.308,940.693),(-132.785,942.139),(-129,942.5),(-129,936.5),(-134.203,935.497),(-138.661,932.632),(-141.735,928.316),(-142.747,925.15),(-143,922.5)],
  [(-165,922.5),(-164.349,929.313),(-162.421,935.88),(-159.285,941.963),(-155.054,947.343),(-149.882,951.825),(-143.955,955.247),(-137.487,957.485),(-129,958.5),(-129,952.5),(-134.678,951.958),(-140.15,950.351),(-145.219,947.738),(-149.702,944.212),(-154.238,938.719),(-156.851,933.65),(-158.458,928.178),(-159,922.5)])

lib.write_gds('01.gds')
